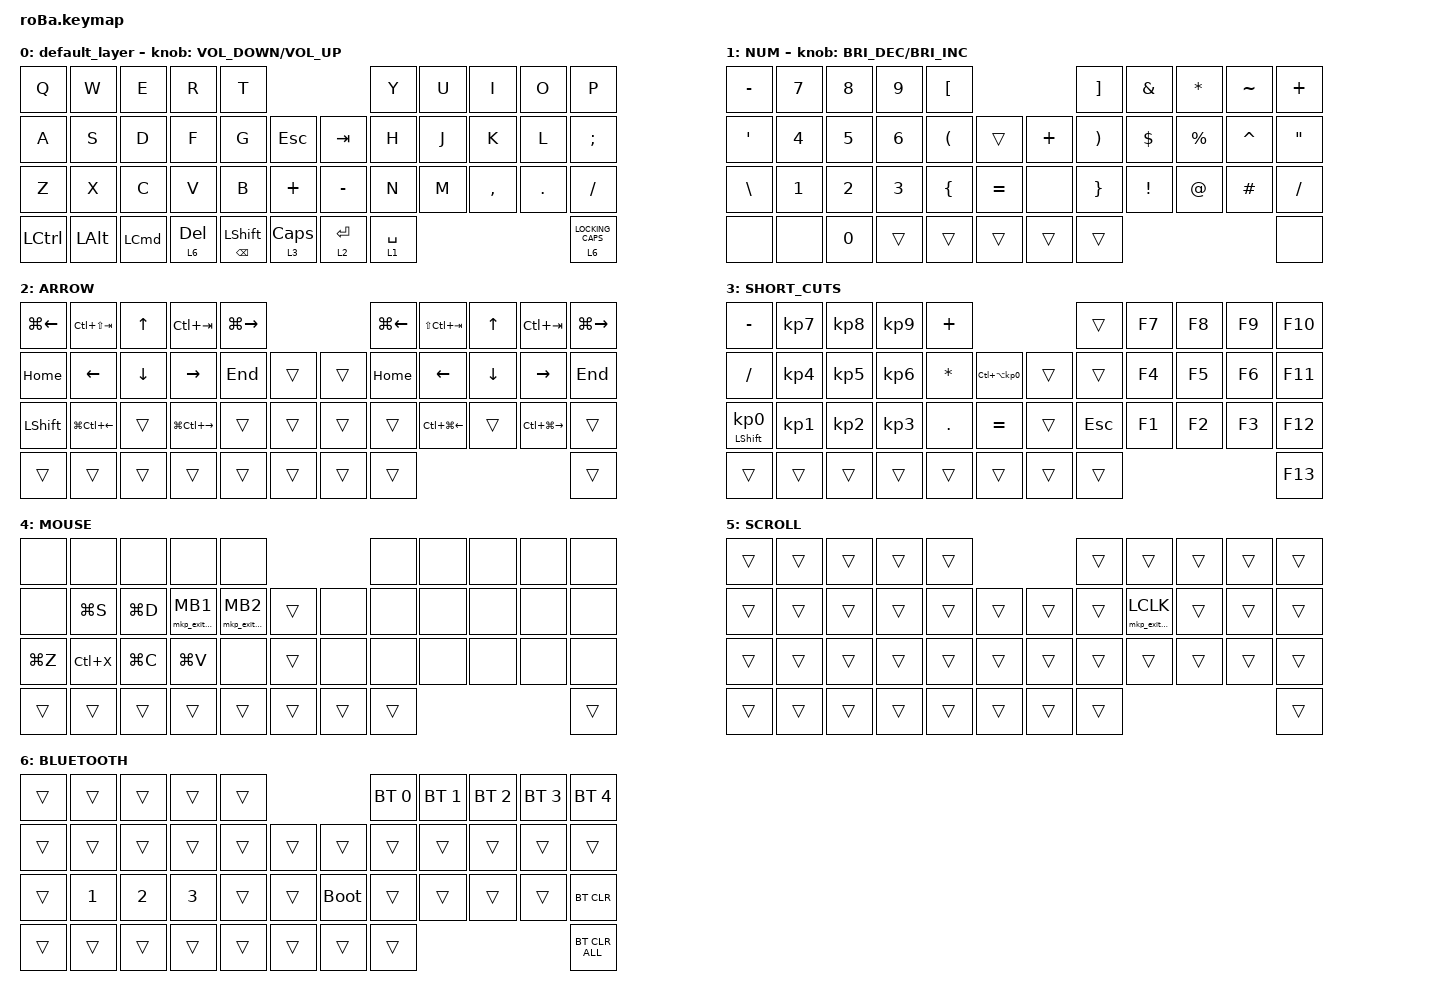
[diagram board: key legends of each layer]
#include <behaviors.dtsi>
#include <dt-bindings/zmk/bt.h>
#include <dt-bindings/zmk/keys.h>
#include <dt-bindings/zmk/pointing.h>

#define ZMK_POINTING_DEFAULT_SCRL_VAL 100
#define MOUSE 4
#define SCROLL 5
#define NUM 6

&mt {
    flavor = "hold-preferred";
    quick-tap-ms = <0>;
};

&sl { release-after-ms = <250>; };

&sensors { triggers-per-rotation = <6>; };

/ {
    combos {
        compatible = "zmk,combos";

        BT1 {
            bindings = <&bt BT_SEL 1>;
            key-positions = <28 23>;
        };

        BT2 {
            bindings = <&bt BT_SEL 2>;
            key-positions = <28 24>;
        };

        BT3 {
            bindings = <&none>;
            key-positions = <28 25>;
        };
    };

    macros {
        to_layer_0: to_layer_0 {
            compatible = "zmk,behavior-macro-one-param";
            #binding-cells = <1>;
            bindings = <&to 0 &macro_param_1to1 &kp MACRO_PLACEHOLDER>;
            label = "TO_LAYER_0";
        };

        mkp_exit_AML: mkp_exit_AML {
            compatible = "zmk,behavior-macro-one-param";
            #binding-cells = <1>;
            bindings =
                <&macro_press>,
                <&macro_param_1to1 &mkp MACRO_PLACEHOLDER>,
                <&macro_pause_for_release>,
                <&macro_release>,
                <&macro_param_1to1 &mkp MACRO_PLACEHOLDER>,
                <&macro_tap>,
                <&sl 4>;

            label = "MKP_EXIT_AML";
        };

        parenthesis: parenthesis {
            compatible = "zmk,behavior-macro";
            #binding-cells = <0>;
            bindings = <&kp LANG_HANJA &kp LEFT_PARENTHESIS &kp RIGHT_PARENTHESIS &kp LEFT_ARROW>;
            label = "parenthesis";
        };
    };

    behaviors {
        scroll_up_down: behavior_sensor_rotate_mouse_wheel_up_down {
            compatible = "zmk,behavior-sensor-rotate";
            #sensor-binding-cells = <0>;
            bindings = <&msc SCRL_UP>, <&msc SCRL_DOWN>;

            // 追加: スクロールのタップ時間を設定 (20ms)

            tap-ms = <20>;
        };

        multi_tap_tab_bspc: behavior_multi_tap {
            label = "MT_TAB_BSPC";
            #binding-cells = <0>;
            bindings = <&kp TAB>, <&kp BSPC>;

            max-taps = <2>;
            max-tap-interrupt-ms = <250>;
        };
    };

    keymap {
        compatible = "zmk,keymap";

        default_layer {
            bindings = <
&kp Q      &kp W         &kp E             &kp R         &kp T                                                      &kp Y        &kp U  &kp I      &kp O    &kp P
&kp A      &kp S         &kp D             &kp F         &kp G                     &kp ESCAPE          &kp TAB      &kp H        &kp J  &kp K      &kp L    &kp SEMICOLON
&kp Z      &kp X         &kp C             &kp V         &kp B                     &kp PLUS            &kp MINUS    &kp N        &kp M  &kp COMMA  &kp DOT  &kp SLASH
&kp LCTRL  &kp LEFT_ALT  &kp LEFT_COMMAND  &lt 6 DELETE  &mt BACKSPACE LEFT_SHIFT  &lt 3 CAPSLOCK      &lt 2 ENTER  &lt 1 SPACE                             &lt 6 LOCKING_CAPS
            >;

            sensor-bindings = <&inc_dec_kp C_VOLUME_DOWN C_VOLUME_UP>;
        };

        NUM {
            bindings = <
&kp MINUS         &kp N7        &kp N8        &kp N9        &kp LEFT_BRACKET                               &kp RIGHT_BRACKET      &kp AMPERSAND    &kp ASTRK    &kp TILDE  &kp PLUS
&kp SINGLE_QUOTE  &kp NUMBER_4  &kp N5        &kp NUMBER_6  &kp LEFT_PARENTHESIS  &trans         &kp PLUS  &kp RIGHT_PARENTHESIS  &kp DOLLAR       &kp PERCENT  &kp CARET  &kp DOUBLE_QUOTES
&kp BACKSLASH     &kp NUMBER_1  &kp NUMBER_2  &kp NUMBER_3  &kp LEFT_BRACE        &kp EQUAL      &none     &kp RIGHT_BRACE        &kp EXCLAMATION  &kp AT_SIGN  &kp POUND  &kp SLASH
&none             &none         &kp N0        &trans        &trans                &trans         &trans    &trans                                                          &none
            >;

            sensor-bindings = <&inc_dec_kp C_BRIGHTNESS_DEC C_BRIGHTNESS_INC>;
        };

        ARROW {
            bindings = <
&kp LG(LEFT_ARROW)  &kp LC(LS(TAB))         &kp UP_ARROW    &kp LC(TAB)              &kp LG(RIGHT_ARROW)                      &kp LG(LEFT_ARROW)  &kp LS(LC(TAB))         &kp UP_ARROW    &kp LC(TAB)              &kp LG(RIGHT_ARROW)
&kp HOME            &kp LEFT_ARROW          &kp DOWN_ARROW  &kp RIGHT_ARROW          &kp END              &trans      &trans  &kp HOME            &kp LEFT_ARROW          &kp DOWN_ARROW  &kp RIGHT_ARROW          &kp END
&kp LEFT_SHIFT      &kp LG(LC(LEFT_ARROW))  &trans          &kp LG(LC(RIGHT_ARROW))  &trans               &trans      &trans  &trans              &kp LC(LG(LEFT_ARROW))  &trans          &kp LC(LG(RIGHT_ARROW))  &trans
&trans              &trans                  &trans          &trans                   &trans               &trans      &trans  &trans                                                                               &trans
            >;
        };

        SHORT_CUTS {
            bindings = <
&kp MINUS                   &kp KP_NUMBER_7  &kp KP_NUMBER_8  &kp KP_NUMBER_9  &kp PLUS                                           &trans      &kp F7  &kp F8  &kp F9  &kp F10
&kp SLASH                   &kp KP_NUMBER_4  &kp KP_NUMBER_5  &kp KP_NUMBER_6  &kp ASTERISK  &kp LC(LA(KP_NUMBER_0))      &trans  &trans      &kp F4  &kp F5  &kp F6  &kp F11
&mt LEFT_SHIFT KP_NUMBER_0  &kp KP_NUMBER_1  &kp KP_NUMBER_2  &kp KP_NUMBER_3  &kp PERIOD    &kp EQUAL                    &trans  &kp ESCAPE  &kp F1  &kp F2  &kp F3  &kp F12
&trans                      &trans           &trans           &trans           &trans        &trans                       &trans  &trans                              &kp F13
            >;
        };

        MOUSE {
            bindings = <
&none      &none      &none      &none              &none                                  &none   &none  &none  &none  &none
&none      &kp LG(S)  &kp LG(D)  &mkp_exit_AML MB1  &mkp_exit_AML MB2  &trans      &none   &none   &none  &none  &none  &none
&kp LG(Z)  &kp LC(X)  &kp LG(C)  &kp LG(V)          &none              &trans      &none   &none   &none  &none  &none  &none
&trans     &trans     &trans     &trans             &trans             &trans      &trans  &trans                       &trans
            >;
        };

        SCROLL {
            bindings = <
&trans  &trans  &trans  &trans  &trans                      &trans  &trans              &trans  &trans  &trans
&trans  &trans  &trans  &trans  &trans  &trans      &trans  &trans  &mkp_exit_AML LCLK  &trans  &trans  &trans
&trans  &trans  &trans  &trans  &trans  &trans      &trans  &trans  &trans              &trans  &trans  &trans
&trans  &trans  &trans  &trans  &trans  &trans      &trans  &trans                                      &trans
            >;
        };

        BLUETOOTH {
            bindings = <
&trans  &trans        &trans        &trans        &trans                           &bt BT_SEL 0  &bt BT_SEL 1  &bt BT_SEL 2  &bt BT_SEL 3  &bt BT_SEL 4
&trans  &trans        &trans        &trans        &trans  &trans      &trans       &trans        &trans        &trans        &trans        &trans
&trans  &kp NUMBER_1  &kp NUMBER_2  &kp NUMBER_3  &trans  &trans      &bootloader  &trans        &trans        &trans        &trans        &bt BT_CLR
&trans  &trans        &trans        &trans        &trans  &trans      &trans       &trans                                                  &bt BT_CLR_ALL
            >;
        };
    };
};
